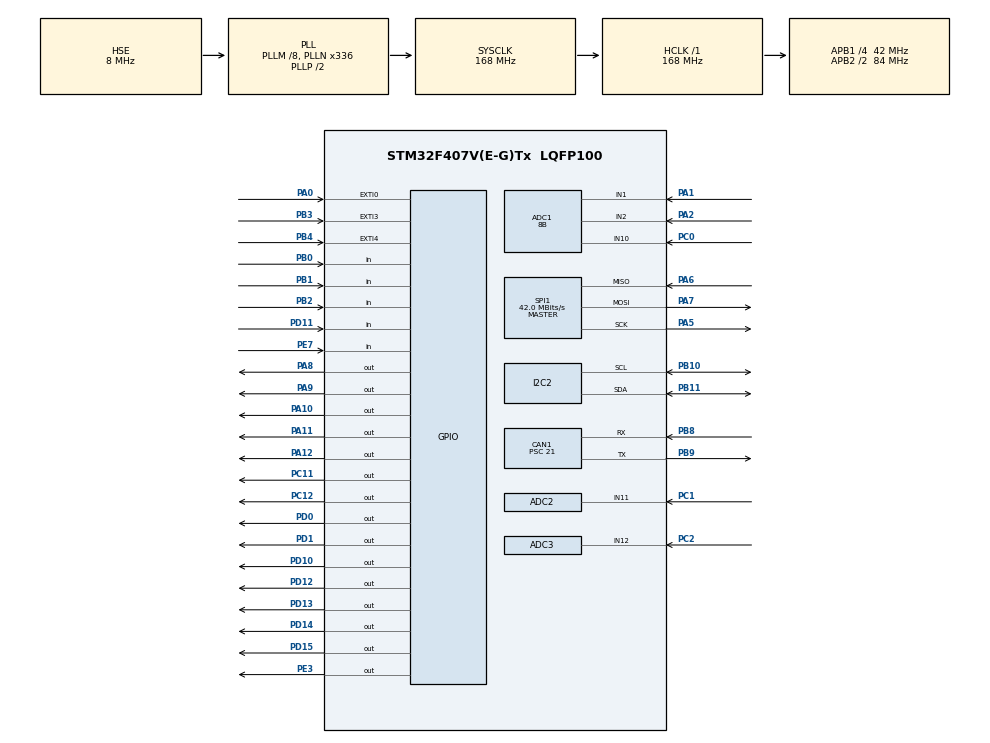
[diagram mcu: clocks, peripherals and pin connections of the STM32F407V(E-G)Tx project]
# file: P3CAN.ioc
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ADC1.Channel-0\#ChannelRegularConversion=ADC_CHANNEL_1
ADC1.ClockPrescaler=ADC_CLOCK_SYNC_PCLK_DIV4
ADC1.ContinuousConvMode=DISABLE
ADC1.DMAContinuousRequests=DISABLE
ADC1.DataAlign=ADC_DATAALIGN_RIGHT
ADC1.DiscontinuousConvMode=DISABLE
ADC1.EOCSelection=ADC_EOC_SINGLE_CONV
ADC1.EnableAnalogWatchDog=false
ADC1.ExternalTrigConv=ADC_SOFTWARE_START
ADC1.ExternalTrigConvEdge=ADC_EXTERNALTRIGCONVEDGE_NONE
ADC1.InjNumberOfConversion=0
ADC1.NbrOfConversion=1
ADC1.NbrOfConversionFlag=1
ADC1.Rank-0\#ChannelRegularConversion=1
ADC1.Resolution=ADC_RESOLUTION_8B
ADC1.SamplingTime-0\#ChannelRegularConversion=ADC_SAMPLETIME_28CYCLES
ADC1.ScanConvMode=DISABLE
ADC1.master=1
ADC2.Channel-0\#ChannelRegularConversion=ADC_CHANNEL_11
ADC2.NbrOfConversionFlag=1
ADC2.Rank-0\#ChannelRegularConversion=1
ADC2.SamplingTime-0\#ChannelRegularConversion=ADC_SAMPLETIME_3CYCLES
ADC3.Channel-0\#ChannelRegularConversion=ADC_CHANNEL_12
ADC3.NbrOfConversionFlag=1
ADC3.Rank-0\#ChannelRegularConversion=1
ADC3.SamplingTime-0\#ChannelRegularConversion=ADC_SAMPLETIME_3CYCLES
CAN1.BS1=CAN_BS1_12TQ
CAN1.BS2=CAN_BS2_4TQ
CAN1.CalculateBaudRate=117647
CAN1.CalculateTimeBit=8500
CAN1.CalculateTimeQuantum=500.0
CAN1.Prescaler=21
FREERTOS.BinarySemaphores01=Semaforo_1,Dynamic,NULL,Available
FREERTOS.INCLUDE_vTaskDelayUntil=1
FREERTOS.Mutexes01=mutex1,Dynamic,NULL
FREERTOS.Tasks01=Tarea1,-3,128,StartTarea1,Default,NULL,Dynamic,NULL,NULL
Mcu.Family=STM32F4
Mcu.Name=STM32F407V(E-G)Tx
Mcu.Package=LQFP100
NVIC.CAN1_RX0_IRQn=true\:5\:0\:true\:false\:true\:true\:true\:true\:true
NVIC.EXTI0_IRQn=true\:0\:0\:true\:false\:true\:true\:true\:true\:true
NVIC.EXTI3_IRQn=true\:5\:0\:false\:false\:true\:false\:true\:true\:true
NVIC.I2C2_EV_IRQn=true\:5\:0\:false\:false\:true\:true\:true\:true\:true
NVIC.PriorityGroup=NVIC_PRIORITYGROUP_4
NVIC.TIM1_UP_TIM10_IRQn=true\:0\:0\:false\:false\:true\:false\:false\:true\:true
NVIC.TimeBase=TIM1_UP_TIM10_IRQn
NVIC.TimeBaseIP=TIM1
PA0-WKUP.Signal=GPXTI0
PA1.Signal=ADCx_IN1
PA10.Signal=GPIO_Output
PA11.Signal=GPIO_Output
PA12.Signal=GPIO_Output
PA2.Signal=ADCx_IN2
PA5.Mode=Full_Duplex_Master
PA5.Signal=SPI1_SCK
PA6.Mode=Full_Duplex_Master
PA6.Signal=SPI1_MISO
PA7.Mode=Full_Duplex_Master
PA7.Signal=SPI1_MOSI
PA8.Signal=GPIO_Output
PA9.Signal=GPIO_Output
PB0.Signal=GPIO_Input
PB1.Signal=GPIO_Input
PB10.GPIO_Pu=GPIO_PULLUP
PB10.Mode=I2C
PB10.Signal=I2C2_SCL
PB11.GPIO_Pu=GPIO_PULLUP
PB11.Mode=I2C
PB11.Signal=I2C2_SDA
PB2.Signal=GPIO_Input
PB3.Signal=GPXTI3
PB4.Signal=GPXTI4
PB8.Mode=CAN_Activate
PB8.Signal=CAN1_RX
PB9.Mode=CAN_Activate
PB9.Signal=CAN1_TX
PC0.Signal=ADCx_IN10
PC1.Signal=ADCx_IN11
PC11.Signal=GPIO_Output
PC12.Signal=GPIO_Output
PC2.Signal=ADCx_IN12
PD0.Signal=GPIO_Output
PD1.Signal=GPIO_Output
PD10.Signal=GPIO_Output
PD11.Signal=GPIO_Input
PD12.Signal=GPIO_Output
PD13.Signal=GPIO_Output
PD14.Signal=GPIO_Output
PD15.Signal=GPIO_Output
PE3.Signal=GPIO_Output
PE7.Signal=GPIO_Input
PH0-OSC_IN.Mode=HSE-External-Oscillator
PH0-OSC_IN.Signal=RCC_OSC_IN
PH1-OSC_OUT.Mode=HSE-External-Oscillator
PH1-OSC_OUT.Signal=RCC_OSC_OUT
ProjectManager.HeapSize=0x200
ProjectManager.StackSize=0x400
ProjectManager.TargetToolchain=STM32CubeIDE
RCC.48MHZClocksFreq_Value=48000000
RCC.AHBFreq_Value=168000000
RCC.APB1CLKDivider=RCC_HCLK_DIV4
RCC.APB1Freq_Value=42000000
RCC.APB1TimFreq_Value=84000000
RCC.APB2CLKDivider=RCC_HCLK_DIV2
RCC.APB2Freq_Value=84000000
RCC.APB2TimFreq_Value=168000000
RCC.CortexFreq_Value=168000000
RCC.HCLKFreq_Value=168000000
RCC.HSE_VALUE=8000000
RCC.HSI_VALUE=16000000
RCC.LSE_VALUE=32768
RCC.PLLM=8
RCC.PLLN=336
RCC.PLLQ=7
RCC.PLLSourceVirtual=RCC_PLLSOURCE_HSE
RCC.SYSCLKFreq_VALUE=168000000
RCC.SYSCLKSource=RCC_SYSCLKSOURCE_PLLCLK
RCC.VCOOutputFreq_Value=336000000
SH.ADCx_IN1.0=ADC1_IN1,IN1
SH.ADCx_IN10.0=ADC1_IN10,IN10
SH.ADCx_IN11.0=ADC2_IN11,IN11
SH.ADCx_IN12.0=ADC3_IN12,IN12
SH.ADCx_IN2.0=ADC1_IN2,IN2
SPI1.CalculateBaudRate=42.0 MBits/s
SPI1.Direction=SPI_DIRECTION_2LINES
SPI1.Mode=SPI_MODE_MASTER
SPI1.VirtualType=VM_MASTER
VP_FREERTOS_VS_CMSIS_V1.Mode=CMSIS_V1
VP_SYS_VS_tim1.Mode=TIM1
board=STM32F4DISCOVERY

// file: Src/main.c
/* USER CODE BEGIN Header */
/**
 *      Authors: Héctor Borreguero Monleón y Francisco Javier Díaz Ventura
 *
  ******************************************************************************
  * @file           : main.c
  * @brief          : Main program body
  ******************************************************************************
  * This notice applies to any and all portions of this file
  * that are not between comment pairs USER CODE BEGIN and
  * USER CODE END. Other portions of this file, whether
  * inserted by the user or by software development tools
  * are owned by their respective copyright owners.
  *
  * Copyright (c) 2021 STMicroelectronics International N.V.
  * All rights reserved.
  *
  * Redistribution and use in source and binary forms, with or without
  * modification, are permitted, provided that the following conditions are met:
  *
  * 1. Redistribution of source code must retain the above copyright notice,
  *    this list of conditions and the following disclaimer.
  * 2. Redistributions in binary form must reproduce the above copyright notice,
  *    this list of conditions and the following disclaimer in the documentation
  *    and/or other materials provided with the distribution.
  * 3. Neither the name of STMicroelectronics nor the names of other
  *    contributors to this software may be used to endorse or promote products
  *    derived from this software without specific written permission.
  * 4. This software, including modifications and/or derivative works of this
  *    software, must execute solely and exclusively on microcontroller or
  *    microprocessor devices manufactured by or for STMicroelectronics.
  * 5. Redistribution and use of this software other than as permitted under
  *    this license is void and will automatically terminate your rights under
  *    this license.
  *
  * THIS SOFTWARE IS PROVIDED BY STMICROELECTRONICS AND CONTRIBUTORS "AS IS"
  * AND ANY EXPRESS, IMPLIED OR STATUTORY WARRANTIES, INCLUDING, BUT NOT
  * LIMITED TO, THE IMPLIED WARRANTIES OF MERCHANTABILITY, FITNESS FOR A
  * PARTICULAR PURPOSE AND NON-INFRINGEMENT OF THIRD PARTY INTELLECTUAL PROPERTY
  * RIGHTS ARE DISCLAIMED TO THE FULLEST EXTENT PERMITTED BY LAW. IN NO EVENT
  * SHALL STMICROELECTRONICS OR CONTRIBUTORS BE LIABLE FOR ANY DIRECT, INDIRECT,
  * INCIDENTAL, SPECIAL, EXEMPLARY, OR CONSEQUENTIAL DAMAGES (INCLUDING, BUT NOT
  * LIMITED TO, PROCUREMENT OF SUBSTITUTE GOODS OR SERVICES; LOSS OF USE, DATA,
  * OR PROFITS; OR BUSINESS INTERRUPTION) HOWEVER CAUSED AND ON ANY THEORY OF
  * LIABILITY, WHETHER IN CONTRACT, STRICT LIABILITY, OR TORT (INCLUDING
  * NEGLIGENCE OR OTHERWISE) ARISING IN ANY WAY OUT OF THE USE OF THIS SOFTWARE,
  * EVEN IF ADVISED OF THE POSSIBILITY OF SUCH DAMAGE.
  *
  ******************************************************************************
  */
/* USER CODE END Header */
#include "main.h"
#include "adc.h"
#include "can.h"
#include "i2c.h"
#include "spi.h"
#include "gpio.h"

/* USER CODE BEGIN Includes */

#include "FreeRTOS.h"
#include "semphr.h"
#include "task.h"
#include <math.h>

#include "T1Altitude.h"
#include "T2Incliantion.h"
#include "T3Vibration.h"
#include "T4Activation.h"

/* USER CODE END Includes */

/* USER CODE BEGIN PTD */
#define TRUE 1
#define FALSE 0
/* USER CODE END PTD */

/* USER CODE BEGIN PD */
#define PR_TAREA1 1
#define PR_TAREA2 2
#define PR_TAREA3 3
#define PR_TAREA4 4
#define PR_TAREA5 5

/* USER CODE END PD */

/* USER CODE BEGIN PM */
TaskHandle_t Task04Handle = NULL;
SemaphoreHandle_t xMutexBalanceComm = NULL;
SemaphoreHandle_t xMutexEmergencies = NULL;
SemaphoreHandle_t xMutexTargetCurrentAltitude = NULL;
SemaphoreHandle_t xMutexAltitudeComm = NULL;
SemaphoreHandle_t xBinaryInterruption = NULL;
SemaphoreHandle_t xCanMutex = NULL;

/* USER CODE END PM */

/* USER CODE BEGIN PV */
CAN_HandleTypeDef hcan1;
CAN_TxHeaderTypeDef pHeader1; //declare a specific header for message transmittions
CAN_TxHeaderTypeDef pHeader2; //declare a specific header for message transmittions
CAN_TxHeaderTypeDef pHeader3; //declare a specific header for message transmittions
CAN_TxHeaderTypeDef pHeader4; //declare a specific header for message transmittions

CAN_RxHeaderTypeDef pRxHeader; //declare header for message reception
uint32_t TxMailbox;
uint8_t ByteSent = 0; //declare byte to be transmitted //declare a receive byte
uint8_t ByteReceived = 0; //declare a receive byte
CAN_FilterTypeDef sFilterConfig; //declare CAN filter structure

/* USER CODE END PV */

void SystemClock_Config(void);
void MX_FREERTOS_Init(void);
/* USER CODE BEGIN PFP */
int emergency= 0;

double RX = 0;
double RY = 0;

int alt_ok = 0;
int target_altitud = 0;
int current_altitud = 0;

double X = 0;
double Y = 0;
double Z = 0;
/* USER CODE END PFP */

int main(void)
{

  /* MCU Configuration--------------------------------------------------------*/

  /* Reset of all peripherals, Initializes the Flash interface and the Systick. */
  HAL_Init();

  /* USER CODE BEGIN Init */
  Inicializa_Acelerometro();
  /* USER CODE END Init */

  /* Configure the system clock */
  SystemClock_Config();

  /* Initialize all configured peripherals */
  MX_GPIO_Init();
  MX_ADC1_Init();
  MX_SPI1_Init();
  MX_CAN1_Init();
  InicializaTransmisionesCAN();
  MX_ADC2_Init();
  MX_ADC3_Init();
  MX_I2C2_Init();
  /* USER CODE BEGIN 2 */
  xMutexBalanceComm = xSemaphoreCreateMutex();
  xMutexEmergencies = xSemaphoreCreateMutex();
  xMutexTargetCurrentAltitude = xSemaphoreCreateMutex();
  xMutexAltitudeComm = xSemaphoreCreateMutex();
  xBinaryInterruption = xSemaphoreCreateBinary();
  xCanMutex = xSemaphoreCreateMutex();

  xTaskCreate(StartTarea1Altitude, "Tarea1", 128, NULL, PR_TAREA1, NULL);
  xTaskCreate(StartTask02Incliantion, "Tarea2", 128, NULL, PR_TAREA2, NULL);
  xTaskCreate(StartTask03Vibration, "Tarea3", 128, NULL, PR_TAREA3, NULL);
  xTaskCreate(StartTask04Activation, "Tarea4", 128, NULL, 4, &Task04Handle);
  /* USER CODE END 2 */

  /* Call init function for freertos objects (in cmsis_os2.c) */
  MX_FREERTOS_Init();

  /* Start scheduler */
  osKernelStart();

  /* We should never get here as control is now taken by the scheduler */

  /* Infinite loop */
  while (1)
  {

  }
}

void SystemClock_Config(void)
{
  RCC_OscInitTypeDef RCC_OscInitStruct = {0};
  RCC_ClkInitTypeDef RCC_ClkInitStruct = {0};

  /** Configure the main internal regulator output voltage
  */
  __HAL_RCC_PWR_CLK_ENABLE();
  __HAL_PWR_VOLTAGESCALING_CONFIG(PWR_REGULATOR_VOLTAGE_SCALE1);

  /** Initializes the RCC Oscillators according to the specified parameters
  * in the RCC_OscInitTypeDef structure.
  */
  RCC_OscInitStruct.OscillatorType = RCC_OSCILLATORTYPE_HSE;
  RCC_OscInitStruct.HSEState = RCC_HSE_ON;
  RCC_OscInitStruct.PLL.PLLState = RCC_PLL_ON;
  RCC_OscInitStruct.PLL.PLLSource = RCC_PLLSOURCE_HSE;
  RCC_OscInitStruct.PLL.PLLM = 8;
  RCC_OscInitStruct.PLL.PLLN = 336;
  RCC_OscInitStruct.PLL.PLLP = RCC_PLLP_DIV2;
  RCC_OscInitStruct.PLL.PLLQ = 7;
  if (HAL_RCC_OscConfig(&RCC_OscInitStruct) != HAL_OK)
  {
    Error_Handler();
  }

  /** Initializes the CPU, AHB and APB buses clocks
  */
  RCC_ClkInitStruct.ClockType = RCC_CLOCKTYPE_HCLK|RCC_CLOCKTYPE_SYSCLK
                              |RCC_CLOCKTYPE_PCLK1|RCC_CLOCKTYPE_PCLK2;
  RCC_ClkInitStruct.SYSCLKSource = RCC_SYSCLKSOURCE_PLLCLK;
  RCC_ClkInitStruct.AHBCLKDivider = RCC_SYSCLK_DIV1;
  RCC_ClkInitStruct.APB1CLKDivider = RCC_HCLK_DIV4;
  RCC_ClkInitStruct.APB2CLKDivider = RCC_HCLK_DIV2;

  if (HAL_RCC_ClockConfig(&RCC_ClkInitStruct, FLASH_LATENCY_5) != HAL_OK)
  {
    Error_Handler();
  }
}

/* USER CODE BEGIN 4 */
void InicializaTransmisionesCAN() {

	pHeader1.DLC=1; //give message size of 1 byte
	pHeader1.IDE=CAN_ID_STD; //set identifier to standard
	pHeader1.RTR=CAN_RTR_DATA; //set data type to remote transmission request?
	pHeader1.StdId=0x2FA; //define a standard identifier, used for message identification by filters (##switch this for the other microcontroller##)

	pHeader2.DLC=4; //give message size of 1 byte
	pHeader2.IDE=CAN_ID_STD; //set identifier to standard
	pHeader2.RTR=CAN_RTR_DATA; //set data type to remote transmission request
	pHeader2.StdId=0x2FB; //define a standard identifier

	pHeader3.DLC=1; //give message size of 1 byte
	pHeader3.IDE=CAN_ID_STD; //set identifier to standard
	pHeader3.RTR=CAN_RTR_DATA; //set data type to remote transmission request
	pHeader3.StdId=0x2FC; //define a standard identifier

	pHeader4.DLC=1; //give message size of 1 byte
	pHeader4.IDE=CAN_ID_STD; //set identifier to standard
	pHeader4.RTR=CAN_RTR_DATA; //set data type to remote transmission request
	pHeader4.StdId=0x2FD; //define a standard identifier

	//filter one (stack light blink)
	sFilterConfig.FilterFIFOAssignment=CAN_FILTER_FIFO0; //set fifo assignment
	sFilterConfig.FilterIdHigh=0x2F4<<5; //the ID that the filter looks for (##switch this for the other microcontroller##)
	sFilterConfig.FilterIdLow=0;
	sFilterConfig.FilterMaskIdHigh=0;
	sFilterConfig.FilterMaskIdLow=0;
	sFilterConfig.FilterScale=CAN_FILTERSCALE_32BIT; //set filter scale
	sFilterConfig.FilterActivation=ENABLE;

	HAL_CAN_ConfigFilter(&hcan1, &sFilterConfig); //configure CAN filter

	HAL_CAN_Start(&hcan1); //start CAN
	HAL_CAN_ActivateNotification(&hcan1, CAN_IT_RX_FIFO0_MSG_PENDING); //enable interrupts
};
/* USER CODE END 4 */

void HAL_TIM_PeriodElapsedCallback(TIM_HandleTypeDef *htim)
{
  if (htim->Instance == TIM1)
  {
    HAL_IncTick();
  }
}

void Error_Handler(void)
{
}

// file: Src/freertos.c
/* USER CODE BEGIN Header */
/**
 *      Authors: Héctor Borreguero Monleón y Francisco Javier Díaz Ventura
 *
  ******************************************************************************
  * File Name          : freertos.c
  * Description        : Code for freertos applications
  ******************************************************************************
  * This notice applies to any and all portions of this file
  * that are not between comment pairs USER CODE BEGIN and
  * USER CODE END. Other portions of this file, whether
  * inserted by the user or by software development tools
  * are owned by their respective copyright owners.
  *
  * Copyright (c) 2021 STMicroelectronics International N.V.
  * All rights reserved.
  *
  * Redistribution and use in source and binary forms, with or without
  * modification, are permitted, provided that the following conditions are met:
  *
  * 1. Redistribution of source code must retain the above copyright notice,
  *    this list of conditions and the following disclaimer.
  * 2. Redistributions in binary form must reproduce the above copyright notice,
  *    this list of conditions and the following disclaimer in the documentation
  *    and/or other materials provided with the distribution.
  * 3. Neither the name of STMicroelectronics nor the names of other
  *    contributors to this software may be used to endorse or promote products
  *    derived from this software without specific written permission.
  * 4. This software, including modifications and/or derivative works of this
  *    software, must execute solely and exclusively on microcontroller or
  *    microprocessor devices manufactured by or for STMicroelectronics.
  * 5. Redistribution and use of this software other than as permitted under
  *    this license is void and will automatically terminate your rights under
  *    this license.
  *
  * THIS SOFTWARE IS PROVIDED BY STMICROELECTRONICS AND CONTRIBUTORS "AS IS"
  * AND ANY EXPRESS, IMPLIED OR STATUTORY WARRANTIES, INCLUDING, BUT NOT
  * LIMITED TO, THE IMPLIED WARRANTIES OF MERCHANTABILITY, FITNESS FOR A
  * PARTICULAR PURPOSE AND NON-INFRINGEMENT OF THIRD PARTY INTELLECTUAL PROPERTY
  * RIGHTS ARE DISCLAIMED TO THE FULLEST EXTENT PERMITTED BY LAW. IN NO EVENT
  * SHALL STMICROELECTRONICS OR CONTRIBUTORS BE LIABLE FOR ANY DIRECT, INDIRECT,
  * INCIDENTAL, SPECIAL, EXEMPLARY, OR CONSEQUENTIAL DAMAGES (INCLUDING, BUT NOT
  * LIMITED TO, PROCUREMENT OF SUBSTITUTE GOODS OR SERVICES; LOSS OF USE, DATA,
  * OR PROFITS; OR BUSINESS INTERRUPTION) HOWEVER CAUSED AND ON ANY THEORY OF
  * LIABILITY, WHETHER IN CONTRACT, STRICT LIABILITY, OR TORT (INCLUDING
  * NEGLIGENCE OR OTHERWISE) ARISING IN ANY WAY OUT OF THE USE OF THIS SOFTWARE,
  * EVEN IF ADVISED OF THE POSSIBILITY OF SUCH DAMAGE.
  *
  ******************************************************************************
  */
/* USER CODE END Header */

#include "FreeRTOS.h"
#include "task.h"
#include "main.h"
#include "cmsis_os.h"

/* USER CODE BEGIN Includes */

#include "spi.h"
#include "adc.h"
/* USER CODE END Includes */

/* USER CODE BEGIN PTD */
#include "semphr.h"

/* USER CODE END PTD */

osThreadId Tarea1Handle;
osMutexId mutex1Handle;
osSemaphoreId Semaforo_1Handle;

void StartTarea1(void const * argument);

void MX_FREERTOS_Init(void); /* (MISRA C 2004 rule 8.1) */

/* GetIdleTaskMemory prototype (linked to static allocation support) */
void vApplicationGetIdleTaskMemory( StaticTask_t **ppxIdleTaskTCBBuffer, StackType_t **ppxIdleTaskStackBuffer, uint32_t *pulIdleTaskStackSize );

/* USER CODE BEGIN GET_IDLE_TASK_MEMORY */
static StaticTask_t xIdleTaskTCBBuffer;
static StackType_t xIdleStack[configMINIMAL_STACK_SIZE];

void vApplicationGetIdleTaskMemory( StaticTask_t **ppxIdleTaskTCBBuffer, StackType_t **ppxIdleTaskStackBuffer, uint32_t *pulIdleTaskStackSize )
{
  *ppxIdleTaskTCBBuffer = &xIdleTaskTCBBuffer;
  *ppxIdleTaskStackBuffer = &xIdleStack[0];
  *pulIdleTaskStackSize = configMINIMAL_STACK_SIZE;
  /* place for user code */
}
/* USER CODE END GET_IDLE_TASK_MEMORY */

void MX_FREERTOS_Init(void) {
  /* Create the mutex(es) */
  /* definition and creation of mutex1 */
  osMutexDef(mutex1);
  mutex1Handle = osMutexCreate(osMutex(mutex1));

  /* Create the semaphores(s) */
  /* definition and creation of Semaforo_1 */
  osSemaphoreDef(Semaforo_1);
  Semaforo_1Handle = osSemaphoreCreate(osSemaphore(Semaforo_1), 1);

  /* Create the thread(s) */
  /* definition and creation of Tarea1 */
  osThreadDef(Tarea1, StartTarea1, osPriorityIdle, 0, 128);
  Tarea1Handle = osThreadCreate(osThread(Tarea1), NULL);

}

void StartTarea1(void const * argument)
{
  for(;;)
  {
    osDelay(1);
  }
}
